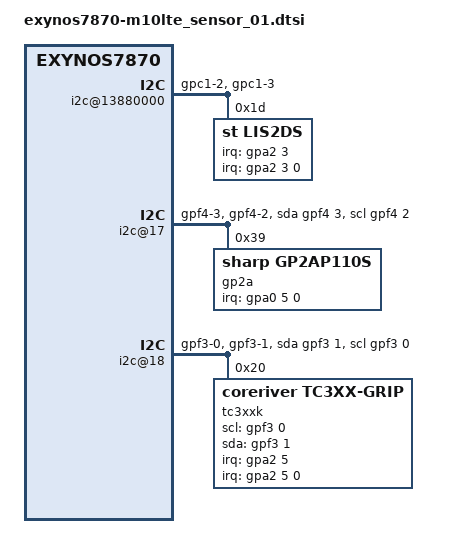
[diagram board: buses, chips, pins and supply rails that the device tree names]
/*
 * Copyright (c) 2012-2013, The Linux Foundation. All rights reserved.
 *
 * This program is free software; you can redistribute it and/or modify
 * it under the terms of the GNU General Public License version 2 and
 * only version 2 as published by the Free Software Foundation.
 *
 * This program is distributed in the hope that it will be useful,
 * but WITHOUT ANY WARRANTY; without even the implied warranty of
 * MERCHANTABILITY or FITNESS FOR A PARTICULAR PURPOSE.  See the
 * GNU General Public License for more details.
 */

/ {
	pinctrl@139F0000 {
		acc_int: acc_int {
			samsung,pins = "gpa2-3";
			samsung,pin-function = <0xf>;
			samsung,pin-pud = <0>;
			samsung,pin-drv = <0>;
		};

		prox_int: prox_int {
			samsung,pins = "gpa0-5";
			samsung,pin-function = <0xf>;
			samsung,pin-pud = <0>;
			samsung,pin-drv = <0>;
		};
		grip_int: grip_int {
			samsung,pins = "gpa2-5";
			samsung,pin-function = <0xf>;
			samsung,pin-pud = <0>;
		};

		grip_input: grip_input {
			samsung,pins = "gpa2-5";
			samsung,pin-function = <0>;
			samsung,pin-pud = <0>;
		};
	};

	pinctrl@139B0000 {
		accel_i2c: accel_i2c {
			samsung,pins = "gpc1-2", "gpc1-3";
			samsung,pin-function = <2>;
			samsung,pin-pud = <0>;
		};

		proxy_i2c: proxy_i2c {
			samsung,pins = "gpf4-3", "gpf4-2";
			samsung,pin-function = <2>;
			samsung,pin-pud = <0>;
		};
		grip_i2c: grip_i2c {
			samsung,pins = "gpf3-0", "gpf3-1";
			samsung,pin-function = <2>;
			samsung,pin-pud = <3>;
			samsung,pin-drv = <0>;
		};
		grip_gpio: grip_gpio {
			samsung,pins = "gpf3-0", "gpf3-1";
			samsung,pin-function = <0>;
			samsung,pin-pud = <3>;
			samsung,pin-drv = <0>;
		};
	};

	i2c@13880000 {
		samsung,i2c-sda-delay = <100>;
		samsung,i2c-max-bus-freq = <400000>;
		status = "okay";
		#address-cells = <1>;
		#size-cells = <0>;
		pinctrl-names = "default";
		pinctrl-0 = <&accel_i2c>;

		lis2ds@1D {
			compatible = "st,lis2ds";
			reg = <0x1D>;
			pinctrl-names = "default";
			pinctrl-0 = <&acc_int>;
			interrupt-parent = <&gpa2>;
			interrupts = <3 0 0>;
			st,orientation = <2 1 1 1 0 1 1 1 2>;
			st,drdy-int-pin = <1>;
			st,irq_gpio = <&gpa2 3 0x00>;
		};
	};

	i2c@17 {
		compatible = "i2c-gpio";
		gpios = <&gpf4 3 0 /* sda */
				&gpf4 2 0 /* scl */>;
		i2c-gpio,delay-us = <2>;
		i2c-gpio,scl-output-only;
		#address-cells = <1>;
		#size-cells = <0>;
		status = "okay";
		pinctrl-names = "default";
		pinctrl-0 = <&proxy_i2c>;

		gp2a@39 {
			compatible = "sharp,gp2ap110s";
			reg = <0x39>;
			pinctrl-names = "default";
			pinctrl-0 = <&prox_int>;
			interrupt-parent = <&gpa0>;
			interrupts = <5 0 0>;
			gp2ap110s,led_reg_val_1 = <0x14>;
			gp2ap110s,ps_high_th_1 = <500>;
			gp2ap110s,ps_low_th_1 = <350>;
			gp2ap110s,led_reg_val_2 = <0x24>; /* If proximity close detection test fails */
			gp2ap110s,ps_high_th_2 = <550>;
			gp2ap110s,ps_low_th_2 = <380>;
			gp2ap110s,settings_thd_low = <130>;
			gp2ap110s,settings_thd_high = <500>;
			gp2ap110s,gpio_int = <&gpa0 5 0>;
		};
	};
	i2c@18 {
		compatible = "i2c-gpio";
		gpios = <&gpf3 1 0 /* sda */
		&gpf3 0 0 /* scl */>;
		i2c-gpio,delay-us = <2>;
		#address-cells = <1>;
		#size-cells = <0>;
		status = "okay";
		pinctrl-names = "default","on_i2c","off_i2c";
		pinctrl-0 = <&grip_i2c>;
		pinctrl-1 = <&grip_i2c>;
		pinctrl-2 = <&grip_gpio>;
		tc3xxk@20 {
			compatible = "coreriver,tc3xx-grip";
			pinctrl-names = "default","on_irq","off_irq";
			pinctrl-0 = <&grip_int>;
			pinctrl-1 = <&grip_int>;
			pinctrl-2 = <&grip_input>;
			reg = <0x20>;
			interrupts = <5 0 0>;
			interrupt-parent = <&gpa2>;
			coreriver,scl-gpio = <&gpf3 0 0>;
			coreriver,sda-gpio = <&gpf3 1 0>;
			coreriver,irq-gpio = <&gpa2 5 0>;
			coreriver,i2c-gpio = "true";
			coreriver,boot-on-ldo = "true";
			coreriver,regulator_ic = "VDD_GRIP_2P2";
			coreriver,fw_name = "coreriver/tc305k_m10_grip.fw";
			coreriver,use_bitmap = <1>;
		};
	};
};
